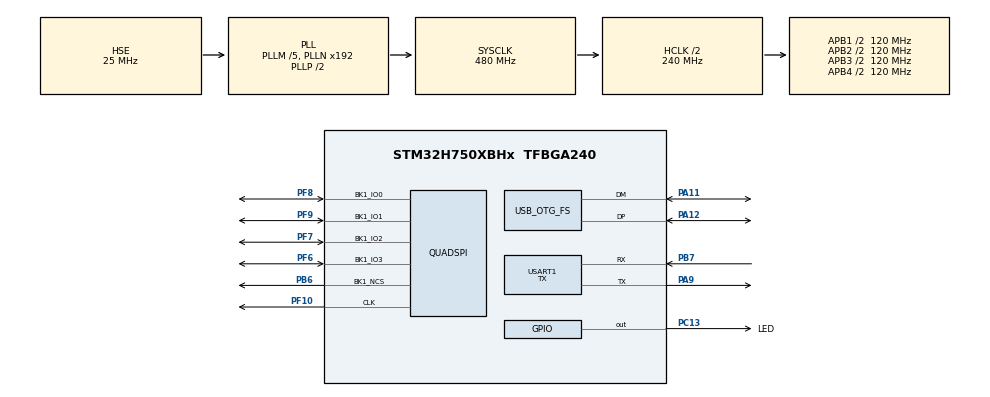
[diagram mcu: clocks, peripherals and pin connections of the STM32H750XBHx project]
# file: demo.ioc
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CORTEX_M7.default_mode_Activation=1
Mcu.Family=STM32H7
Mcu.Name=STM32H750XBHx
Mcu.Package=TFBGA240
NVIC.OTG_FS_IRQn=true\:0\:0\:false\:false\:true\:true\:true\:true
NVIC.PriorityGroup=NVIC_PRIORITYGROUP_4
PA11.Mode=Device_Only
PA11.Signal=USB_OTG_FS_DM
PA12.Mode=Device_Only
PA12.Signal=USB_OTG_FS_DP
PA13\ (JTMS/SWDIO).Mode=Serial_Wire
PA13\ (JTMS/SWDIO).Signal=DEBUG_JTMS-SWDIO
PA14\ (JTCK/SWCLK).Mode=Serial_Wire
PA14\ (JTCK/SWCLK).Signal=DEBUG_JTCK-SWCLK
PA9.Mode=Asynchronous
PA9.Signal=USART1_TX
PB6.GPIO_Speed=GPIO_SPEED_FREQ_VERY_HIGH
PB6.Mode=Single Bank 1
PB6.Signal=QUADSPI_BK1_NCS
PB7.Mode=Asynchronous
PB7.Signal=USART1_RX
PC13.GPIO_Label=LED
PC13.Signal=GPIO_Output
PF10.GPIO_Speed=GPIO_SPEED_FREQ_VERY_HIGH
PF10.Mode=Single Bank 1
PF10.Signal=QUADSPI_CLK
PF6.GPIO_Speed=GPIO_SPEED_FREQ_VERY_HIGH
PF6.Mode=Single Bank 1
PF6.Signal=QUADSPI_BK1_IO3
PF7.GPIO_Speed=GPIO_SPEED_FREQ_VERY_HIGH
PF7.Mode=Single Bank 1
PF7.Signal=QUADSPI_BK1_IO2
PF8.GPIO_Speed=GPIO_SPEED_FREQ_VERY_HIGH
PF8.Mode=Single Bank 1
PF8.Signal=QUADSPI_BK1_IO0
PF9.GPIO_Speed=GPIO_SPEED_FREQ_VERY_HIGH
PF9.Mode=Single Bank 1
PF9.Signal=QUADSPI_BK1_IO1
PH0-OSC_IN\ (PH0).Mode=HSE-External-Oscillator
PH0-OSC_IN\ (PH0).Signal=RCC_OSC_IN
PH1-OSC_OUT\ (PH1).Mode=HSE-External-Oscillator
PH1-OSC_OUT\ (PH1).Signal=RCC_OSC_OUT
ProjectManager.HeapSize=0x200
ProjectManager.StackSize=0x400
ProjectManager.TargetToolchain=MDK-ARM V5.32
QUADSPI.ChipSelectHighTime=QSPI_CS_HIGH_TIME_4_CYCLE
QUADSPI.ClockPrescaler=1
QUADSPI.FifoThreshold=4
QUADSPI.FlashSize=22
QUADSPI.SampleShifting=QSPI_SAMPLE_SHIFTING_HALFCYCLE
RCC.ADCFreq_Value=50390625
RCC.APB1Freq_Value=120000000
RCC.APB2Freq_Value=120000000
RCC.APB3Freq_Value=120000000
RCC.APB4Freq_Value=120000000
RCC.CortexFreq_Value=480000000
RCC.D1PPRE=RCC_APB3_DIV2
RCC.D2PPRE1=RCC_APB1_DIV2
RCC.D2PPRE2=RCC_APB2_DIV2
RCC.D3PPRE=RCC_APB4_DIV2
RCC.DIVM1=5
RCC.DIVM3=2
RCC.DIVN1=192
RCC.DIVN3=12
RCC.DIVQ1=4
RCC.DIVQ3=3
RCC.HCLKFreq_Value=240000000
RCC.HPRE=RCC_HCLK_DIV2
RCC.PLL2FRACN=0
RCC.PLL3FRACN=0
RCC.PLLFRACN=0
RCC.PLLSourceVirtual=RCC_PLLSOURCE_HSE
RCC.SYSCLKFreq_VALUE=480000000
RCC.SYSCLKSource=RCC_SYSCLKSOURCE_PLLCLK
RCC.USBCLockSelection=RCC_USBCLKSOURCE_HSI48
RCC.USBFreq_Value=48000000
USART1.Mode=MODE_TX
USART1.VirtualMode-Asynchronous=VM_ASYNC
USB_OTG_FS.VirtualMode=Device_Only
board=custom

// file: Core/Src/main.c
/* USER CODE BEGIN Header */
/**
 ******************************************************************************
 * @file           : main.c
 * @brief          : Main program body
 ******************************************************************************
 * @attention
 *
 * Copyright (c) 2025 STMicroelectronics.
 * All rights reserved.
 *
 * This software is licensed under terms that can be found in the LICENSE file
 * in the root directory of this software component.
 * If no LICENSE file comes with this software, it is provided AS-IS.
 *
 ******************************************************************************
 */
/* USER CODE END Header */
#include "main.h"

/* USER CODE BEGIN Includes */
#include <stdio.h>
#include "flash_if.h"
/* USER CODE END Includes */

QSPI_HandleTypeDef hqspi;

UART_HandleTypeDef huart1;

PCD_HandleTypeDef hpcd_USB_OTG_FS;

void SystemClock_Config(void);
static void MPU_Config(void);
static void MX_GPIO_Init(void);
static void MX_USB_OTG_FS_PCD_Init(void);
static void MX_USART1_UART_Init(void);
static void MX_QUADSPI_Init(void);
/* USER CODE BEGIN PFP */

void usb_dc_low_level_init(void)
{
    MX_USB_OTG_FS_PCD_Init();
}

void usb_dc_low_level_deinit(void)
{}

/* USER CODE END PFP */

/* USER CODE BEGIN 0 */

#include "partition.h"
#include "iap.h"

partition_t partitions[] = {
    {"app1", &flashif, 0x400000, 0x100000}, // user app
    {"fs",   &flashif, 0x800000, 0x100000}, // file system
};

/* USER CODE END 0 */

int main(void)
{

  /* MPU Configuration--------------------------------------------------------*/
  MPU_Config();

  /* MCU Configuration--------------------------------------------------------*/

  /* Reset of all peripherals, Initializes the Flash interface and the Systick. */
  HAL_Init();

  /* Configure the system clock */
  SystemClock_Config();

  /* Initialize all configured peripherals */
  MX_GPIO_Init();
  MX_USART1_UART_Init();
  MX_QUADSPI_Init();
  /* USER CODE BEGIN 2 */

flashif.init();
    //if (flashif.init())
    {
        hid_custom_init(0, USB_OTG_FS_PERIPH_BASE);
    }

  /* USER CODE END 2 */

  /* Infinite loop */
    while (1)
    {

    }
}

void SystemClock_Config(void)
{
  RCC_OscInitTypeDef RCC_OscInitStruct = {0};
  RCC_ClkInitTypeDef RCC_ClkInitStruct = {0};

  /** Supply configuration update enable
  */
  HAL_PWREx_ConfigSupply(PWR_LDO_SUPPLY);

  /** Configure the main internal regulator output voltage
  */
  __HAL_PWR_VOLTAGESCALING_CONFIG(PWR_REGULATOR_VOLTAGE_SCALE1);

  while(!__HAL_PWR_GET_FLAG(PWR_FLAG_VOSRDY)) {}

  __HAL_RCC_SYSCFG_CLK_ENABLE();
  __HAL_PWR_VOLTAGESCALING_CONFIG(PWR_REGULATOR_VOLTAGE_SCALE0);

  while(!__HAL_PWR_GET_FLAG(PWR_FLAG_VOSRDY)) {}

  /** Initializes the RCC Oscillators according to the specified parameters
  * in the RCC_OscInitTypeDef structure.
  */
  RCC_OscInitStruct.OscillatorType = RCC_OSCILLATORTYPE_HSI48|RCC_OSCILLATORTYPE_HSE;
  RCC_OscInitStruct.HSEState = RCC_HSE_ON;
  RCC_OscInitStruct.HSI48State = RCC_HSI48_ON;
  RCC_OscInitStruct.PLL.PLLState = RCC_PLL_ON;
  RCC_OscInitStruct.PLL.PLLSource = RCC_PLLSOURCE_HSE;
  RCC_OscInitStruct.PLL.PLLM = 5;
  RCC_OscInitStruct.PLL.PLLN = 192;
  RCC_OscInitStruct.PLL.PLLP = 2;
  RCC_OscInitStruct.PLL.PLLQ = 4;
  RCC_OscInitStruct.PLL.PLLR = 2;
  RCC_OscInitStruct.PLL.PLLRGE = RCC_PLL1VCIRANGE_2;
  RCC_OscInitStruct.PLL.PLLVCOSEL = RCC_PLL1VCOWIDE;
  RCC_OscInitStruct.PLL.PLLFRACN = 0;
  if (HAL_RCC_OscConfig(&RCC_OscInitStruct) != HAL_OK)
  {
    Error_Handler();
  }

  /** Initializes the CPU, AHB and APB buses clocks
  */
  RCC_ClkInitStruct.ClockType = RCC_CLOCKTYPE_HCLK|RCC_CLOCKTYPE_SYSCLK
                              |RCC_CLOCKTYPE_PCLK1|RCC_CLOCKTYPE_PCLK2
                              |RCC_CLOCKTYPE_D3PCLK1|RCC_CLOCKTYPE_D1PCLK1;
  RCC_ClkInitStruct.SYSCLKSource = RCC_SYSCLKSOURCE_PLLCLK;
  RCC_ClkInitStruct.SYSCLKDivider = RCC_SYSCLK_DIV1;
  RCC_ClkInitStruct.AHBCLKDivider = RCC_HCLK_DIV2;
  RCC_ClkInitStruct.APB3CLKDivider = RCC_APB3_DIV2;
  RCC_ClkInitStruct.APB1CLKDivider = RCC_APB1_DIV2;
  RCC_ClkInitStruct.APB2CLKDivider = RCC_APB2_DIV2;
  RCC_ClkInitStruct.APB4CLKDivider = RCC_APB4_DIV2;

  if (HAL_RCC_ClockConfig(&RCC_ClkInitStruct, FLASH_LATENCY_4) != HAL_OK)
  {
    Error_Handler();
  }
}

static void MX_QUADSPI_Init(void)
{

  /* QUADSPI parameter configuration*/
    hqspi.Instance                = QUADSPI;
    hqspi.Init.ClockPrescaler     = 1;
    hqspi.Init.FifoThreshold      = 4;
    hqspi.Init.SampleShifting     = QSPI_SAMPLE_SHIFTING_HALFCYCLE;
    hqspi.Init.FlashSize          = 22;
    hqspi.Init.ChipSelectHighTime = QSPI_CS_HIGH_TIME_4_CYCLE;
    hqspi.Init.ClockMode          = QSPI_CLOCK_MODE_0;
    hqspi.Init.FlashID            = QSPI_FLASH_ID_1;
    hqspi.Init.DualFlash          = QSPI_DUALFLASH_DISABLE;
  if (HAL_QSPI_Init(&hqspi) != HAL_OK)
  {
    Error_Handler();
  }

}

static void MX_USART1_UART_Init(void)
{

  huart1.Instance = USART1;
  huart1.Init.BaudRate = 115200;
  huart1.Init.WordLength = UART_WORDLENGTH_8B;
  huart1.Init.StopBits = UART_STOPBITS_1;
  huart1.Init.Parity = UART_PARITY_NONE;
  huart1.Init.Mode = UART_MODE_TX;
  huart1.Init.HwFlowCtl = UART_HWCONTROL_NONE;
  huart1.Init.OverSampling = UART_OVERSAMPLING_16;
  huart1.Init.OneBitSampling = UART_ONE_BIT_SAMPLE_DISABLE;
  huart1.Init.ClockPrescaler = UART_PRESCALER_DIV1;
  huart1.AdvancedInit.AdvFeatureInit = UART_ADVFEATURE_NO_INIT;
  if (HAL_UART_Init(&huart1) != HAL_OK)
  {
    Error_Handler();
  }
  if (HAL_UARTEx_SetTxFifoThreshold(&huart1, UART_TXFIFO_THRESHOLD_1_8) != HAL_OK)
  {
    Error_Handler();
  }
  if (HAL_UARTEx_SetRxFifoThreshold(&huart1, UART_RXFIFO_THRESHOLD_1_8) != HAL_OK)
  {
    Error_Handler();
  }
  if (HAL_UARTEx_DisableFifoMode(&huart1) != HAL_OK)
  {
    Error_Handler();
  }

}

static void MX_USB_OTG_FS_PCD_Init(void)
{

  hpcd_USB_OTG_FS.Instance = USB_OTG_FS;
  hpcd_USB_OTG_FS.Init.dev_endpoints = 9;
  hpcd_USB_OTG_FS.Init.speed = PCD_SPEED_FULL;
  hpcd_USB_OTG_FS.Init.dma_enable = DISABLE;
  hpcd_USB_OTG_FS.Init.phy_itface = PCD_PHY_EMBEDDED;
  hpcd_USB_OTG_FS.Init.Sof_enable = DISABLE;
  hpcd_USB_OTG_FS.Init.low_power_enable = DISABLE;
  hpcd_USB_OTG_FS.Init.lpm_enable = DISABLE;
  hpcd_USB_OTG_FS.Init.battery_charging_enable = DISABLE;
  hpcd_USB_OTG_FS.Init.vbus_sensing_enable = DISABLE;
  hpcd_USB_OTG_FS.Init.use_dedicated_ep1 = DISABLE;
  if (HAL_PCD_Init(&hpcd_USB_OTG_FS) != HAL_OK)
  {
    Error_Handler();
  }

}

static void MX_GPIO_Init(void)
{
  GPIO_InitTypeDef GPIO_InitStruct = {0};

  /* GPIO Ports Clock Enable */
  __HAL_RCC_GPIOB_CLK_ENABLE();
  __HAL_RCC_GPIOA_CLK_ENABLE();
  __HAL_RCC_GPIOC_CLK_ENABLE();
  __HAL_RCC_GPIOH_CLK_ENABLE();
  __HAL_RCC_GPIOF_CLK_ENABLE();

  /*Configure GPIO pin Output Level */
  HAL_GPIO_WritePin(LED_GPIO_Port, LED_Pin, GPIO_PIN_RESET);

  /*Configure GPIO pin : LED_Pin */
  GPIO_InitStruct.Pin = LED_Pin;
  GPIO_InitStruct.Mode = GPIO_MODE_OUTPUT_PP;
  GPIO_InitStruct.Pull = GPIO_NOPULL;
  GPIO_InitStruct.Speed = GPIO_SPEED_FREQ_LOW;
  HAL_GPIO_Init(LED_GPIO_Port, &GPIO_InitStruct);

}

/* USER CODE BEGIN 4 */
int fputc(int ch, FILE* f)
{
    HAL_UART_Transmit(&huart1, (uint8_t*)&ch, 1, 0xFF);
    return ch;
}
/* USER CODE END 4 */

 /* MPU Configuration */

void MPU_Config(void)
{
  MPU_Region_InitTypeDef MPU_InitStruct = {0};

  /* Disables the MPU */
  HAL_MPU_Disable();

  /** Initializes and configures the Region and the memory to be protected
  */
  MPU_InitStruct.Enable = MPU_REGION_ENABLE;
  MPU_InitStruct.Number = MPU_REGION_NUMBER0;
  MPU_InitStruct.BaseAddress = 0x0;
  MPU_InitStruct.Size = MPU_REGION_SIZE_4GB;
  MPU_InitStruct.SubRegionDisable = 0x87;
  MPU_InitStruct.TypeExtField = MPU_TEX_LEVEL0;
  MPU_InitStruct.AccessPermission = MPU_REGION_NO_ACCESS;
  MPU_InitStruct.DisableExec = MPU_INSTRUCTION_ACCESS_DISABLE;
  MPU_InitStruct.IsShareable = MPU_ACCESS_SHAREABLE;
  MPU_InitStruct.IsCacheable = MPU_ACCESS_NOT_CACHEABLE;
  MPU_InitStruct.IsBufferable = MPU_ACCESS_NOT_BUFFERABLE;

  HAL_MPU_ConfigRegion(&MPU_InitStruct);
  /* Enables the MPU */
  HAL_MPU_Enable(MPU_PRIVILEGED_DEFAULT);

}

void Error_Handler(void)
{
    __disable_irq();
    while (1)
    {
    }
}
